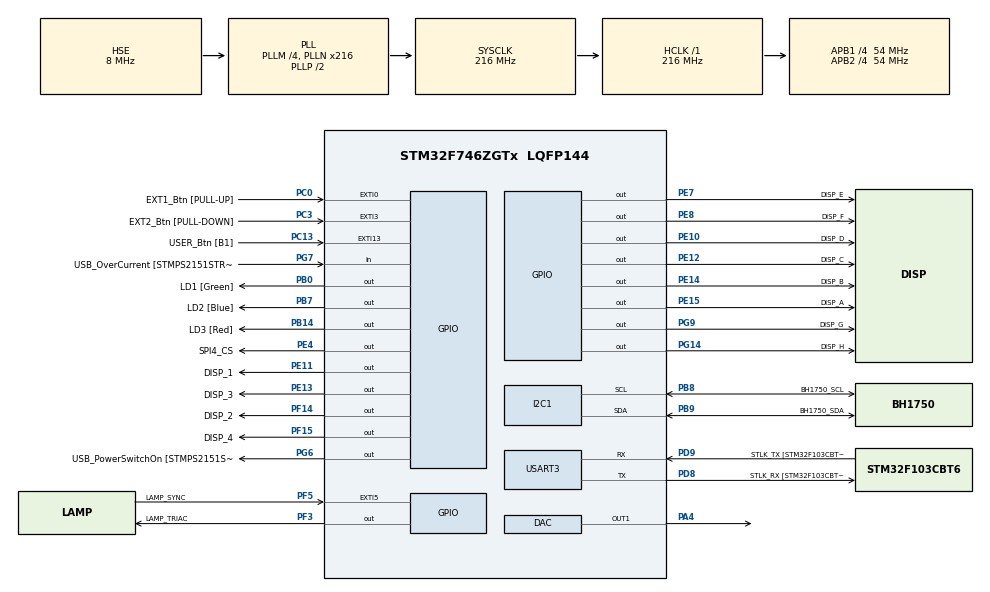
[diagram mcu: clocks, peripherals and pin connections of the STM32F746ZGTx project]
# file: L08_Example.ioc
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DAC.DAC_OutputBuffer=DAC_OUTPUTBUFFER_DISABLE
DAC.DAC_Trigger=DAC_TRIGGER_NONE
Dma.DAC1.0.Direction=DMA_MEMORY_TO_PERIPH
Dma.DAC1.0.FIFOMode=DMA_FIFOMODE_DISABLE
Dma.DAC1.0.Instance=DMA1_Stream5
Dma.DAC1.0.MemDataAlignment=DMA_MDATAALIGN_HALFWORD
Dma.DAC1.0.MemInc=DMA_MINC_ENABLE
Dma.DAC1.0.Mode=DMA_CIRCULAR
Dma.DAC1.0.PeriphDataAlignment=DMA_PDATAALIGN_HALFWORD
Dma.DAC1.0.PeriphInc=DMA_PINC_DISABLE
Dma.DAC1.0.Priority=DMA_PRIORITY_LOW
Dma.Request0=DAC1
Dma.Request1=USART3_RX
Dma.USART3_RX.1.Direction=DMA_PERIPH_TO_MEMORY
Dma.USART3_RX.1.FIFOMode=DMA_FIFOMODE_DISABLE
Dma.USART3_RX.1.Instance=DMA1_Stream1
Dma.USART3_RX.1.MemDataAlignment=DMA_MDATAALIGN_BYTE
Dma.USART3_RX.1.MemInc=DMA_MINC_ENABLE
Dma.USART3_RX.1.Mode=DMA_NORMAL
Dma.USART3_RX.1.PeriphDataAlignment=DMA_PDATAALIGN_BYTE
Dma.USART3_RX.1.PeriphInc=DMA_PINC_DISABLE
Dma.USART3_RX.1.Priority=DMA_PRIORITY_LOW
I2C1.Timing=0x20404768
Mcu.Family=STM32F7
Mcu.Name=STM32F746ZGTx
Mcu.Package=LQFP144
NVIC.DMA1_Stream1_IRQn=true\:0\:0\:false\:false\:true\:false\:true\:true
NVIC.DMA1_Stream5_IRQn=true\:0\:0\:false\:false\:true\:false\:true\:true
NVIC.PriorityGroup=NVIC_PRIORITYGROUP_4
NVIC.TIM6_DAC_IRQn=true\:0\:0\:false\:false\:true\:true\:true\:true
PA1.GPIO_Label=RMII_REF_CLK [LAN8742A-CZ-TR_REFCLK0]
PA1.Signal=ETH_REF_CLK
PA10.GPIO_Label=USB_ID
PA10.Signal=USB_OTG_FS_ID
PA11.GPIO_Label=USB_DM
PA11.Signal=USB_OTG_FS_DM
PA12.GPIO_Label=USB_DP
PA12.Signal=USB_OTG_FS_DP
PA13.GPIO_Label=TMS
PA13.Mode=Serial_Wire
PA13.Signal=SYS_JTMS-SWDIO
PA14.GPIO_Label=TCK
PA14.Mode=Serial_Wire
PA14.Signal=SYS_JTCK-SWCLK
PA2.GPIO_Label=RMII_MDIO [LAN8742A-CZ-TR_MDIO]
PA2.Signal=ETH_MDIO
PA3.GPIO_Label=LD4 [PWM]
PA3.Signal=S_TIM5_CH4
PA4.Signal=COMP_DAC1_group
PA5.GPIO_Label=LED_RGB_R [Red channel]
PA5.Signal=S_TIM2_CH1_ETR
PA6.GPIO_Label=ENC_CLK
PA6.Signal=S_TIM3_CH1
PA7.GPIO_Label=RMII_CRS_DV [LAN8742A-CZ-TR_CRS_DV]
PA7.Signal=ETH_CRS_DV
PA8.GPIO_Label=USB_SOF [TP1]
PA8.Signal=USB_OTG_FS_SOF
PA9.GPIO_Label=USB_VBUS
PA9.Signal=USB_OTG_FS_VBUS
PB0.GPIO_Label=LD1 [Green]
PB0.Signal=GPIO_Output
PB1.GPIO_Label=POTENTIOMETER1
PB1.Signal=ADCx_IN9
PB10.GPIO_Label=LED_RGB_G [Green channel]
PB10.Signal=S_TIM2_CH3
PB11.GPIO_Label=LED_RGB_B [Blue channel]
PB11.Signal=S_TIM2_CH4
PB13.GPIO_Label=RMII_TXD1 [LAN8742A-CZ-TR_TXD1]
PB13.Signal=ETH_TXD1
PB14.GPIO_Label=LD3 [Red]
PB14.Signal=GPIO_Output
PB3.GPIO_Label=SW0
PB3.Signal=SYS_JTDO-SWO
PB7.GPIO_Label=LD2 [Blue]
PB7.Signal=GPIO_Output
PB8.GPIO_Label=BH1750_SCL
PB8.Mode=I2C
PB8.Signal=I2C1_SCL
PB9.GPIO_Label=BH1750_SDA
PB9.Mode=I2C
PB9.Signal=I2C1_SDA
PC0.GPIO_Label=EXT1_Btn [PULL-UP]
PC0.GPIO_ModeDefaultEXTI=GPIO_MODE_IT_FALLING
PC0.GPIO_PuPd=GPIO_PULLUP
PC0.Signal=GPXTI0
PC1.GPIO_Label=RMII_MDC [LAN8742A-CZ-TR_MDC]
PC1.Signal=ETH_MDC
PC13.GPIO_Label=USER_Btn [B1]
PC13.Signal=GPXTI13
PC14/OSC32_IN.Mode=LSE-External-Oscillator
PC14/OSC32_IN.Signal=RCC_OSC32_IN
PC15/OSC32_OUT.Mode=LSE-External-Oscillator
PC15/OSC32_OUT.Signal=RCC_OSC32_OUT
PC2.GPIO_Label=POTENTIOMETER2
PC2.Signal=ADCx_IN12
PC3.GPIO_Label=EXT2_Btn [PULL-DOWN]
PC3.GPIO_PuPd=GPIO_PULLDOWN
PC3.Signal=GPXTI3
PC4.GPIO_Label=RMII_RXD0 [LAN8742A-CZ-TR_RXD0]
PC4.Signal=ETH_RXD0
PC5.GPIO_Label=RMII_RXD1 [LAN8742A-CZ-TR_RXD1]
PC5.Signal=ETH_RXD1
PC7.GPIO_Label=ENC_DT
PC7.Signal=S_TIM3_CH2
PD13.GPIO_Label=HEATER
PD13.Signal=S_TIM4_CH2
PD8.GPIO_Label=STLK_RX [STM32F103CBT6_PA3]
PD8.Mode=Asynchronous
PD8.Signal=USART3_TX
PD9.GPIO_Label=STLK_TX [STM32F103CBT6_PA2]
PD9.Mode=Asynchronous
PD9.Signal=USART3_RX
PE10.GPIO_Label=DISP_D
PE10.GPIO_ModeDefaultOutputPP=GPIO_MODE_OUTPUT_OD
PE10.GPIO_PuPd=GPIO_PULLUP
PE10.Signal=GPIO_Output
PE11.GPIO_Label=DISP_1
PE11.Signal=GPIO_Output
PE12.GPIO_Label=DISP_C
PE12.GPIO_ModeDefaultOutputPP=GPIO_MODE_OUTPUT_OD
PE12.GPIO_PuPd=GPIO_PULLUP
PE12.Signal=GPIO_Output
PE13.GPIO_Label=DISP_3
PE13.Signal=GPIO_Output
PE14.GPIO_Label=DISP_B
PE14.GPIO_ModeDefaultOutputPP=GPIO_MODE_OUTPUT_OD
PE14.GPIO_PuPd=GPIO_PULLUP
PE14.Signal=GPIO_Output
PE15.GPIO_Label=DISP_A
PE15.GPIO_ModeDefaultOutputPP=GPIO_MODE_OUTPUT_OD
PE15.GPIO_PuPd=GPIO_PULLUP
PE15.Signal=GPIO_Output
PE2.Signal=SPI4_SCK
PE4.GPIO_Label=SPI4_CS
PE4.Signal=GPIO_Output
PE5.Signal=SPI4_MISO
PE6.Signal=SPI4_MOSI
PE7.GPIO_Label=DISP_E
PE7.GPIO_ModeDefaultOutputPP=GPIO_MODE_OUTPUT_OD
PE7.GPIO_PuPd=GPIO_PULLUP
PE7.Signal=GPIO_Output
PE8.GPIO_Label=DISP_F
PE8.GPIO_ModeDefaultOutputPP=GPIO_MODE_OUTPUT_OD
PE8.GPIO_PuPd=GPIO_PULLUP
PE8.Signal=GPIO_Output
PF14.GPIO_Label=DISP_2
PF14.Signal=GPIO_Output
PF15.GPIO_Label=DISP_4
PF15.Signal=GPIO_Output
PF3.GPIO_Label=LAMP_TRIAC
PF3.GPIO_Speed=GPIO_SPEED_FREQ_HIGH
PF3.Signal=GPIO_Output
PF5.GPIO_Label=LAMP_SYNC
PF5.Signal=GPXTI5
PG11.GPIO_Label=RMII_TX_EN [LAN8742A-CZ-TR_TXEN]
PG11.Signal=ETH_TX_EN
PG13.GPIO_Label=RMII_TXD0 [LAN8742A-CZ-TR_TXD0]
PG13.Signal=ETH_TXD0
PG14.GPIO_Label=DISP_H
PG14.GPIO_ModeDefaultOutputPP=GPIO_MODE_OUTPUT_OD
PG14.GPIO_PuPd=GPIO_PULLUP
PG14.Signal=GPIO_Output
PG6.GPIO_Label=USB_PowerSwitchOn [STMPS2151STR_EN]
PG6.Signal=GPIO_Output
PG7.GPIO_Label=USB_OverCurrent [STMPS2151STR_FAULT]
PG7.Signal=GPIO_Input
PG9.GPIO_Label=DISP_G
PG9.GPIO_ModeDefaultOutputPP=GPIO_MODE_OUTPUT_OD
PG9.GPIO_PuPd=GPIO_PULLUP
PG9.Signal=GPIO_Output
PH0/OSC_IN.GPIO_Label=MCO [STM32F103CBT6_PA8]
PH0/OSC_IN.Mode=HSE-External-Clock-Source
PH0/OSC_IN.Signal=RCC_OSC_IN
PH1/OSC_OUT.Mode=HSE-External-Clock-Source
PH1/OSC_OUT.Signal=RCC_OSC_OUT
ProjectManager.HeapSize=0x200
ProjectManager.StackSize=0x400
ProjectManager.TargetToolchain=STM32CubeIDE
RCC.48MHZClocksFreq_Value=24000000
RCC.AHBFreq_Value=216000000
RCC.APB1CLKDivider=RCC_HCLK_DIV4
RCC.APB1Freq_Value=54000000
RCC.APB1TimFreq_Value=108000000
RCC.APB2CLKDivider=RCC_HCLK_DIV4
RCC.APB2Freq_Value=54000000
RCC.APB2TimFreq_Value=108000000
RCC.CortexFreq_Value=216000000
RCC.HCLKFreq_Value=216000000
RCC.HSE_VALUE=8000000
RCC.HSI_VALUE=16000000
RCC.PLLM=4
RCC.PLLMUL=RCC_PLL_MUL9
RCC.PLLN=216
RCC.PLLQ=3
RCC.PLLSourceVirtual=RCC_PLLSOURCE_HSE
RCC.PRESCALERUSB=RCC_USBCLKSOURCE_PLL_DIV1_5
RCC.SYSCLKFreq_VALUE=216000000
RCC.SYSCLKSource=RCC_SYSCLKSOURCE_PLLCLK
RCC.SYSCLKSourceVirtual=RCC_SYSCLKSOURCE_PLLCLK
RCC.USART3CLockSelection=RCC_USART3CLKSOURCE_SYSCLK
RCC.USBFreq_Value=144000000
RCC.VCOOutputFreq_Value=432000000
SH.ADCx_IN12.0=ADC1_IN12
SH.ADCx_IN9.0=ADC1_IN9
SH.COMP_DAC1_group.0=DAC_OUT1,DAC_OUT1
SH.S_TIM2_CH1_ETR.0=TIM2_CH1
SH.S_TIM2_CH3.0=TIM2_CH3
SH.S_TIM2_CH4.0=TIM2_CH4
SH.S_TIM3_CH1.0=TIM3_CH1
SH.S_TIM3_CH2.0=TIM3_CH2
SH.S_TIM4_CH2.0=TIM4_CH2
SH.S_TIM5_CH4.0=TIM5_CH4
TIM6.Period=999
TIM6.Prescaler=107
TIM6.TIM_MasterOutputTrigger=TIM_TRGO_UPDATE
USART3.VirtualMode-Asynchronous=VM_ASYNC
VP_TIM6_VS_ClockSourceINT.Mode=Enable_Timer
board=NUCLEO-F746ZG

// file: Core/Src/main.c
/* USER CODE BEGIN Header */
/**
  ******************************************************************************
  * @file           : main.c
  * @brief          : Main program body
  ******************************************************************************
  * @attention
  *
  * Copyright (c) 2022 STMicroelectronics.
  * All rights reserved.
  *
  * This software is licensed under terms that can be found in the LICENSE file
  * in the root directory of this software component.
  * If no LICENSE file comes with this software, it is provided AS-IS.
  *
  ******************************************************************************
  */
/* USER CODE END Header */
#include "main.h"
#include "dac.h"
#include "dma.h"
#include "i2c.h"
#include "tim.h"
#include "usart.h"
#include "gpio.h"

/* USER CODE BEGIN Includes */
#define _USE_MATH_DEFINES
#include <math.h>
#include "aio.h"
#include "btn_config.h"
#include "disp_config.h"
/* USER CODE END Includes */

/* USER CODE BEGIN PD */
#define TASK 1
/* USER CODE END PD */

/* USER CODE BEGIN PV */
#if TASK < 4

float A = 1.0f;         // [V]
float B = 1.0f;         // [V]
float f = 10.0f;        // [Hz]
float t = 0;            // [s]
const float ts = 0.001; // [s]

float output_mv = 500.0f;

#elif TASK >= 4

uint16_t sine_wave[] = {
  #include "sine.csv"
};

#endif

/* USER CODE END PV */

void SystemClock_Config(void);

/* USER CODE BEGIN 0 */

/**
  * @brief  Period elapsed callback in non-blocking mode
  * @param  htim TIM handle
  * @retval None
  */
void HAL_TIM_PeriodElapsedCallback(TIM_HandleTypeDef *htim)
{
  if(htim == &htim6)
  {
#if TASK == 1 || TASK == 3

    DISP_ROUTINE(&hdisp1);

#endif

#if TASK == 2 || TASK == 3

    t += ts;
    output_mv = 1000.0f*(A*sinf(2*M_PI*f*t) + B);
    HAL_DAC_SetValue(&hdac, DAC_CHANNEL_1, DAC_ALIGN_12B_R, DAC_VOLTAGE2REG(output_mv));

#elif TASK == 4

    static unsigned i = 0;
    HAL_DAC_SetValue(&hdac, DAC_CHANNEL_1, DAC_ALIGN_12B_R, sine_wave[i]);
    i++;
    if(i >= sizeof(sine_wave)/sizeof(uint16_t))
      i = 0;

#endif
  }
}

/* USER CODE END 0 */

int main(void)
{

  /* MCU Configuration--------------------------------------------------------*/

  /* Reset of all peripherals, Initializes the Flash interface and the Systick. */
  HAL_Init();

  /* Configure the system clock */
  SystemClock_Config();

  /* Initialize all configured peripherals */
  MX_GPIO_Init();
  MX_DMA_Init();
  MX_USART3_UART_Init();
  MX_TIM6_Init();
  MX_I2C1_Init();
  MX_DAC_Init();
  /* USER CODE BEGIN 2 */
#if TASK < 5

  HAL_DAC_Start(&hdac, DAC_CHANNEL_1);
  //HAL_TIM_Base_Start_IT(&htim6);

#elif TASK == 5

  HAL_DAC_Start_DMA(&hdac, DAC_CHANNEL_1, (uint32_t*)sine_wave, sizeof(sine_wave)/sizeof(uint16_t), DAC_ALIGN_12B_R);
  HAL_TIM_Base_Start(&htim6);

#endif
  /* USER CODE END 2 */

  /* Infinite loop */
  /* USER CODE BEGIN WHILE */
  while (1)
  {
#if TASK == 1

    if(BTN_DIO_EdgeDetected(&hbtn1) == BTN_PRESSED_EDGE)
      output_mv = (output_mv <= 0.0f) ? (0.0f) : (output_mv - 100.0f);

    if(BTN_DIO_EdgeDetected(&hbtn2) == BTN_PRESSED_EDGE)
      output_mv = (output_mv >= 3300.0f) ? (3300.0f) : (output_mv + 100.0f);

    DISP_printDecUInt(&hdisp1, (unsigned int)output_mv);
    HAL_DAC_SetValue(&hdac, DAC_CHANNEL_1, DAC_ALIGN_12B_R, DAC_VOLTAGE2REG(output_mv));

#elif TASK == 3

    if(BTN_DIO_EdgeDetected(&hbtn1) == BTN_PRESSED_EDGE)
      A = (A <= 0.0f) ? (0.0f) : (A - 0.1f);

    if(BTN_DIO_EdgeDetected(&hbtn2) == BTN_PRESSED_EDGE)
      A = (A >= 1.0f) ? (1.0f) : (A + 0.1f);

    DISP_printDecUInt(&hdisp1, (unsigned int)(A*1000));

#endif

    HAL_Delay(10);
    /* USER CODE END WHILE */

  }
}

void SystemClock_Config(void)
{
  RCC_OscInitTypeDef RCC_OscInitStruct = {0};
  RCC_ClkInitTypeDef RCC_ClkInitStruct = {0};

  /** Configure LSE Drive Capability
  */
  HAL_PWR_EnableBkUpAccess();

  /** Configure the main internal regulator output voltage
  */
  __HAL_RCC_PWR_CLK_ENABLE();
  __HAL_PWR_VOLTAGESCALING_CONFIG(PWR_REGULATOR_VOLTAGE_SCALE1);

  /** Initializes the RCC Oscillators according to the specified parameters
  * in the RCC_OscInitTypeDef structure.
  */
  RCC_OscInitStruct.OscillatorType = RCC_OSCILLATORTYPE_HSE;
  RCC_OscInitStruct.HSEState = RCC_HSE_BYPASS;
  RCC_OscInitStruct.PLL.PLLState = RCC_PLL_ON;
  RCC_OscInitStruct.PLL.PLLSource = RCC_PLLSOURCE_HSE;
  RCC_OscInitStruct.PLL.PLLM = 4;
  RCC_OscInitStruct.PLL.PLLN = 216;
  RCC_OscInitStruct.PLL.PLLP = RCC_PLLP_DIV2;
  RCC_OscInitStruct.PLL.PLLQ = 3;
  if (HAL_RCC_OscConfig(&RCC_OscInitStruct) != HAL_OK)
  {
    Error_Handler();
  }

  /** Activate the Over-Drive mode
  */
  if (HAL_PWREx_EnableOverDrive() != HAL_OK)
  {
    Error_Handler();
  }

  /** Initializes the CPU, AHB and APB buses clocks
  */
  RCC_ClkInitStruct.ClockType = RCC_CLOCKTYPE_HCLK|RCC_CLOCKTYPE_SYSCLK
                              |RCC_CLOCKTYPE_PCLK1|RCC_CLOCKTYPE_PCLK2;
  RCC_ClkInitStruct.SYSCLKSource = RCC_SYSCLKSOURCE_PLLCLK;
  RCC_ClkInitStruct.AHBCLKDivider = RCC_SYSCLK_DIV1;
  RCC_ClkInitStruct.APB1CLKDivider = RCC_HCLK_DIV4;
  RCC_ClkInitStruct.APB2CLKDivider = RCC_HCLK_DIV4;

  if (HAL_RCC_ClockConfig(&RCC_ClkInitStruct, FLASH_LATENCY_7) != HAL_OK)
  {
    Error_Handler();
  }
}

void Error_Handler(void)
{
  __disable_irq();
  while (1)
  {
  }
}
